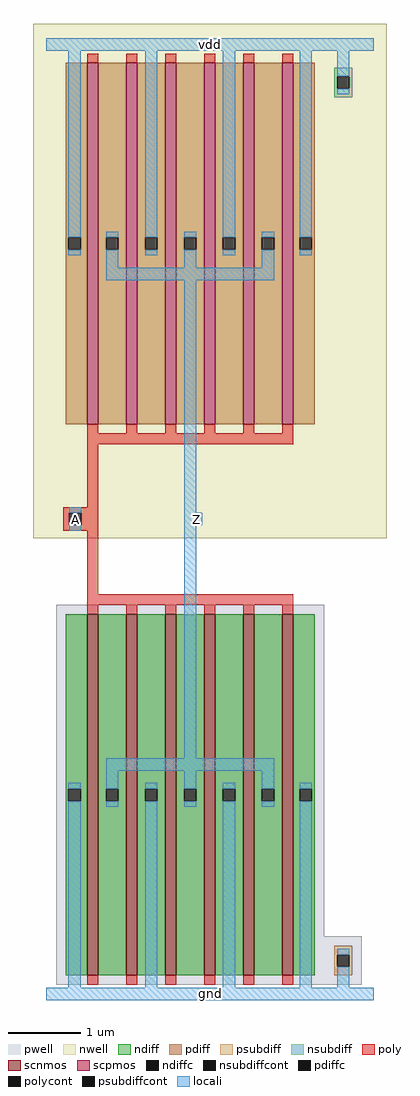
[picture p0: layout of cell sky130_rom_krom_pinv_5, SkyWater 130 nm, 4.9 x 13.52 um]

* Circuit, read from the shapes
.subckt sky130_rom_krom_pinv_5 A Z gnd vdd
XM1 Z A gnd gnd sky130_fd_pr__nfet_01v8 w=5 l=0.15 m=6
XM2 Z A vdd vdd sky130_fd_pr__pfet_01v8 w=5 l=0.15 m=6
.ends

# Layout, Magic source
magic
tech sky130A
magscale 1 2
<< nwell >>
rect -36 1262 944 2686
<< pwell >>
rect 28 159 770 1077
rect 28 25 874 159
<< scnmos >>
rect 114 51 144 1051
rect 222 51 252 1051
rect 330 51 360 1051
rect 438 51 468 1051
rect 546 51 576 1051
rect 654 51 684 1051
<< scpmos >>
rect 114 1578 144 2578
rect 222 1578 252 2578
rect 330 1578 360 2578
rect 438 1578 468 2578
rect 546 1578 576 2578
rect 654 1578 684 2578
<< ndiff >>
rect 54 568 114 1051
rect 54 534 62 568
rect 96 534 114 568
rect 54 51 114 534
rect 144 568 222 1051
rect 144 534 166 568
rect 200 534 222 568
rect 144 51 222 534
rect 252 568 330 1051
rect 252 534 274 568
rect 308 534 330 568
rect 252 51 330 534
rect 360 568 438 1051
rect 360 534 382 568
rect 416 534 438 568
rect 360 51 438 534
rect 468 568 546 1051
rect 468 534 490 568
rect 524 534 546 568
rect 468 51 546 534
rect 576 568 654 1051
rect 576 534 598 568
rect 632 534 654 568
rect 576 51 654 534
rect 684 568 744 1051
rect 684 534 702 568
rect 736 534 744 568
rect 684 51 744 534
<< pdiff >>
rect 54 2095 114 2578
rect 54 2061 62 2095
rect 96 2061 114 2095
rect 54 1578 114 2061
rect 144 2095 222 2578
rect 144 2061 166 2095
rect 200 2061 222 2095
rect 144 1578 222 2061
rect 252 2095 330 2578
rect 252 2061 274 2095
rect 308 2061 330 2095
rect 252 1578 330 2061
rect 360 2095 438 2578
rect 360 2061 382 2095
rect 416 2061 438 2095
rect 360 1578 438 2061
rect 468 2095 546 2578
rect 468 2061 490 2095
rect 524 2061 546 2095
rect 468 1578 546 2061
rect 576 2095 654 2578
rect 576 2061 598 2095
rect 632 2061 654 2095
rect 576 1578 654 2061
rect 684 2095 744 2578
rect 684 2061 702 2095
rect 736 2061 744 2095
rect 684 1578 744 2061
<< ndiffc >>
rect 62 534 96 568
rect 166 534 200 568
rect 274 534 308 568
rect 382 534 416 568
rect 490 534 524 568
rect 598 534 632 568
rect 702 534 736 568
<< pdiffc >>
rect 62 2061 96 2095
rect 166 2061 200 2095
rect 274 2061 308 2095
rect 382 2061 416 2095
rect 490 2061 524 2095
rect 598 2061 632 2095
rect 702 2061 736 2095
<< psubdiff >>
rect 798 109 848 133
rect 798 75 806 109
rect 840 75 848 109
rect 798 51 848 75
<< nsubdiff >>
rect 798 2541 848 2565
rect 798 2507 806 2541
rect 840 2507 848 2541
rect 798 2483 848 2507
<< psubdiffcont >>
rect 806 75 840 109
<< nsubdiffcont >>
rect 806 2507 840 2541
<< poly >>
rect 114 2578 144 2604
rect 222 2578 252 2604
rect 330 2578 360 2604
rect 438 2578 468 2604
rect 546 2578 576 2604
rect 654 2578 684 2604
rect 114 1552 144 1578
rect 222 1552 252 1578
rect 330 1552 360 1578
rect 438 1552 468 1578
rect 546 1552 576 1578
rect 654 1552 684 1578
rect 114 1522 684 1552
rect 114 1348 144 1522
rect 48 1332 144 1348
rect 48 1298 64 1332
rect 98 1298 144 1332
rect 48 1282 144 1298
rect 114 1107 144 1282
rect 114 1077 684 1107
rect 114 1051 144 1077
rect 222 1051 252 1077
rect 330 1051 360 1077
rect 438 1051 468 1077
rect 546 1051 576 1077
rect 654 1051 684 1077
rect 114 25 144 51
rect 222 25 252 51
rect 330 25 360 51
rect 438 25 468 51
rect 546 25 576 51
rect 654 25 684 51
<< polycont >>
rect 64 1298 98 1332
<< locali >>
rect 0 2612 908 2646
rect 62 2095 96 2612
rect 62 2045 96 2061
rect 166 2095 200 2111
rect 166 2011 200 2061
rect 274 2095 308 2612
rect 274 2045 308 2061
rect 382 2095 416 2111
rect 382 2011 416 2061
rect 490 2095 524 2612
rect 490 2045 524 2061
rect 598 2095 632 2111
rect 598 2011 632 2061
rect 702 2095 736 2612
rect 806 2541 840 2612
rect 806 2491 840 2507
rect 702 2045 736 2061
rect 166 1977 632 2011
rect 64 1332 98 1348
rect 64 1282 98 1298
rect 382 1332 416 1977
rect 382 1298 433 1332
rect 382 652 416 1298
rect 166 618 632 652
rect 62 568 96 584
rect 62 17 96 534
rect 166 568 200 618
rect 166 518 200 534
rect 274 568 308 584
rect 274 17 308 534
rect 382 568 416 618
rect 382 518 416 534
rect 490 568 524 584
rect 490 17 524 534
rect 598 568 632 618
rect 598 518 632 534
rect 702 568 736 584
rect 702 17 736 534
rect 806 109 840 125
rect 806 17 840 75
rect 0 -17 908 17
<< labels >>
rlabel locali s 81 1315 81 1315 4 A
port 1 nsew
rlabel locali s 416 1315 416 1315 4 Z
port 2 nsew
rlabel locali s 454 0 454 0 4 gnd
port 3 nsew
rlabel locali s 454 2629 454 2629 4 vdd
port 4 nsew
<< properties >>
string FIXED_BBOX 0 0 908 1994
<< end >>
